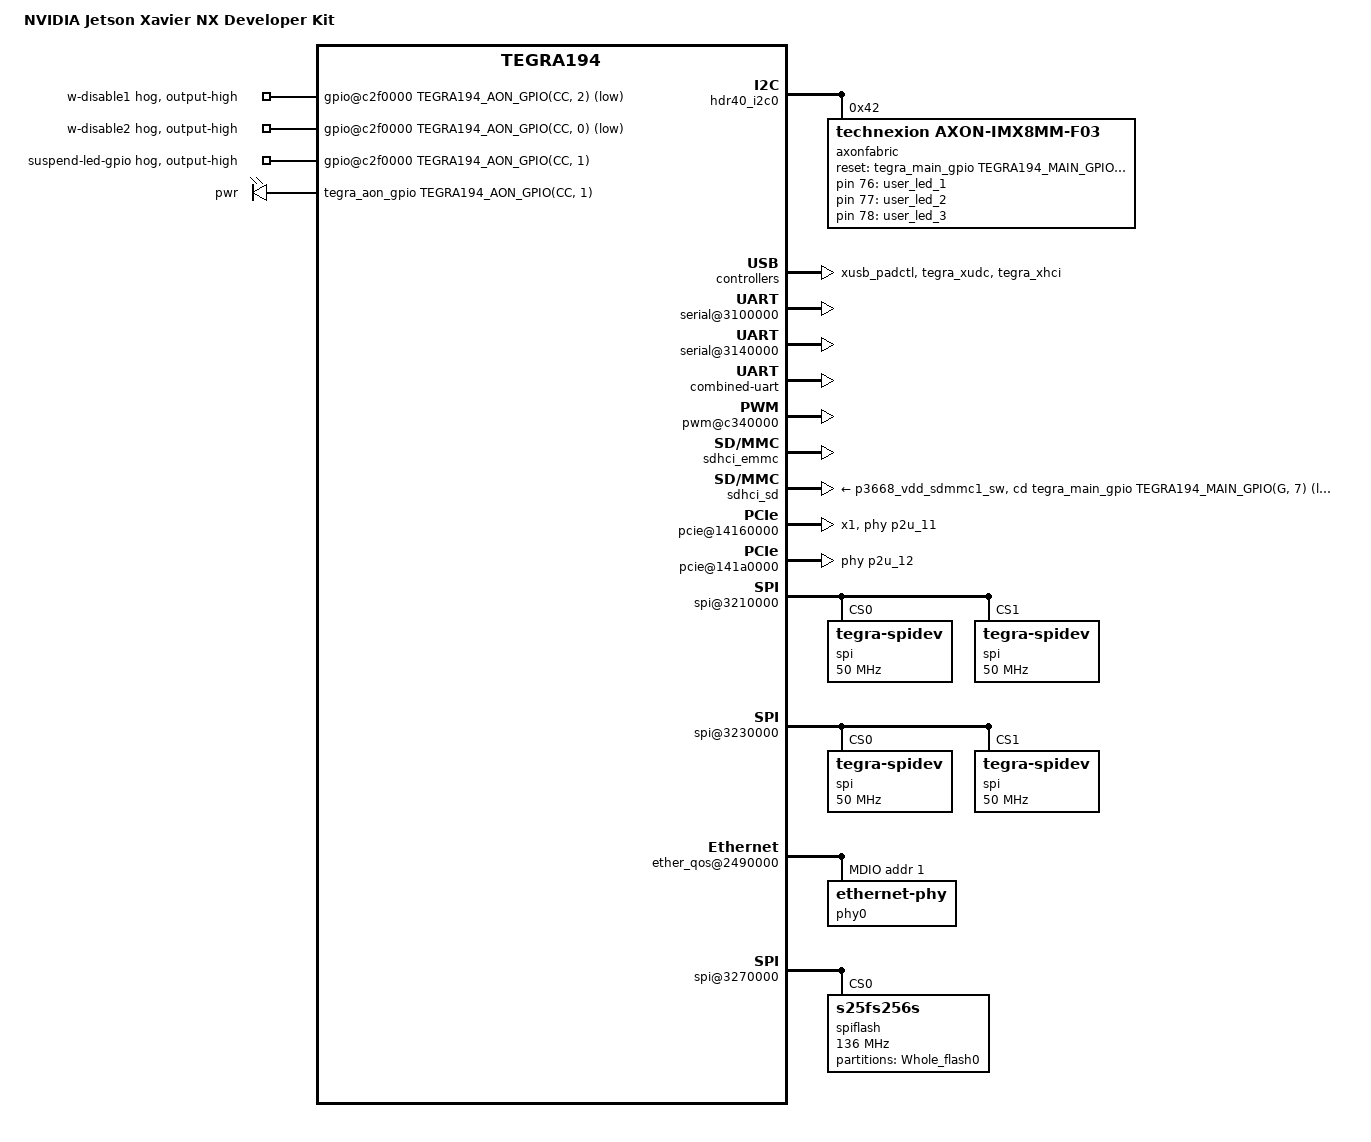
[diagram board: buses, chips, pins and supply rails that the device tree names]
/*
 * Common include DTS file for CVM:P3668-0001 and CVB:P3449-0000 variants.
 *
 * Copyright (c) 2019-2020 , NVIDIA CORPORATION.  All rights reserved.
 *
 * This program is free software; you can redistribute it and/or modify
 * it under the terms of the GNU General Public License as published by
 * the Free Software Foundation; version 2 of the License.
 *
 * This program is distributed in the hope that it will be useful, but WITHOUT
 * ANY WARRANTY; without even the implied warranty of MERCHANTABILITY or
 * FITNESS FOR A PARTICULAR PURPOSE.  See the GNU General Public License for
 * more details.
 */

#include "dt-bindings/extcon-ids.h"
#include "dt-bindings/gpio/tegra194-gpio.h"
#include <dt-bindings/pwm/pwm.h>
#include <tegra194-soc/tegra194-soc-cvm.dtsi>
#include "tegra194-fixed-regulator-p3668.dtsi"
#include <t19x-common-platforms/tegra194-comms.dtsi>
#include <t19x-common-platforms/tegra194-platforms-eqos.dtsi>
#include "tegra194-powermon-p3668.dtsi"
#include "tegra194-power-tree-p3668.dtsi"
#include "tegra194-thermal-p3668.dtsi"
#include <t19x-common-platforms/tegra194-no-pll-aon-clock.dtsi>
#include "tegra194-p3668-pcie-plugin-manager.dtsi"
#include "tegra194-plugin-manager-p3668.dtsi"

/ {
	nvidia,fastboot-usb-vid = <0x0955>;
	nvidia,fastboot-usb-pid = <0xee1e>;
	model = "NVIDIA Jetson Xavier NX Developer Kit";

	chosen {
		bootargs ="console=ttyTCU0,115200";
		board-has-eeprom;
		nvidia,tegra-joint_xpu_rail;
	};

	cpufreq {
		compatible = "nvidia,tegra194-cpufreq";
		status = "okay";
		cpu_emc_map = <1907200 1600000>,
			    <1881600 800000>,
			    <1574400 665000>,
			    <1267200 408000>;
	};

	pmc@c370000 {
		nvidia,invert-interrupt;
	};

        pmc@c360000 {
                 iopad_defaults: iopad-defaults {
                         sdmmc-io-pads {
                                 pins = "sdmmc1-hv", "sdmmc3-hv";
                                 nvidia,enable-voltage-switching;
                         };
                 };
         };

	hdr40_i2c0: i2c@c240000 {
		/* This I2C (GEN2) is routed only to 40-pin hdr
		 * Not being used in Jakku CVM/CVB/Porg-base-board
		 * it seems "ucsi_ccg" for USB-TypeC which is not supported by Jakku */
		bmi160@69 {
			compatible = "bmi,bmi160";
			reg = <0x69>;
			interrupt-parent = <&tegra_aon_gpio>;
			interrupts = <TEGRA194_AON_GPIO(AA, 2) GPIO_ACTIVE_LOW>;
			accelerometer_matrix    = [01 00 00 00 01 00 00 00 01];
			gyroscope_matrix        = [01 00 00 00 01 00 00 00 01];
			accelerometer_delay_us_min = <1250>;
			gyroscope_delay_us_min = <1250>;
			status = "disabled";
		};
	};

	i2c@c240000 {
		// Note that i2c address for the fabric will change in rev 0.2 of the board.
		// In rev 0.1, I2C0 is connected to regular io pins on the fpga, which allows
		// it to communicate with the EFB secondary I2C interface (not the primary).
		// In rev 0.2, the I2C pins will be connected to the correct sysConfig pins of
		// the FPGA, so the address will revert to 0x41.
		axonfabric: axonfabric@42 {
			reg = <0x42>;  // 0x42 is temporary only for board rev 0.1
			pinctrl-names = "default";
			compatible = "technexion,axon-imx8mm-f03";
			reset-gpios = <&tegra_main_gpio TEGRA194_MAIN_GPIO(P, 4) 1>;
			gpio-controller;
			#gpio-cells = <2>;
			gpio-line-names =
				"F_GPIO01", "F_GPIO02", "F_GPIO03", "F_GPIO04", // Bank 0
				"F_GPIO05", "F_GPIO06", "F_GPIO07", "F_GPIO08", // Bank 0
				"F_GPIO09", "F_GPIO10", "F_GPIO11", "F_GPIO12", // Bank 1
				"F_GPIO13", "F_GPIO14", "F_GPIO15", "F_GPIO16", // Bank 1
				"F_GPIO17", "F_GPIO18", "F_GPIO19", "F_GPIO20", // Bank 2
				"F_GPIO21", "F_GPIO22", "F_GPIO23", "F_GPIO24", // Bank 2
				"F_GPIO25", "F_GPIO26", "F_GPIO27", "F_GPIO28", // Bank 3
				"F_GPIO29", "F_GPIO30", "F_GPIO31", "F_GPIO32", // Bank 3
				"F_GPIO33", "F_GPIO34", "F_GPIO35", "F_GPIO36", // Bank 4
				"F_GPIO37", "F_GPIO38", "F_GPIO39", "F_GPIO40", // Bank 4
				"F_GPIO41", "F_GPIO42", "F_GPIO43", "F_GPIO44", // Bank 5
				"F_GPIO45", "F_GPIO46", "F_GPIO47", "F_GPIO48", // Bank 5
				"F_GPIO49", "F_GPIO50", "F_GPIO51", "F_GPIO52", // Bank 6
				"F_GPIO53", "F_GPIO54", "F_GPIO55", "F_GPIO56", // Bank 6
				"F_GPIO57", "F_GPIO58", "F_GPIO59", "F_GPIO60", // Bank 7
				"F_GPIO61", "F_GPIO62", "F_GPIO63", "F_GPIO64", // Bank 7
				"F_GPIO65", "F_GPIO66", "F_GPIO67", "F_GPIO68", // Bank 8
				"F_GPIO69", "F_GPIO70", "", "",                 // Bank 8
				"F_UART_TXD", "F_UART_RXD", "F_UART_CTS", "F_UART_RTS",  // Bank 9
				"F_GPIO_LED1", "F_GPIO_LED2", "F_GPIO_LED3", "",         // Bank 9
				"CSI0_RST_N", "CSI0_PWDN", "CSI0_PDB", "CSI0_INT",       // Bank 10
				"CSI1_RST_N", "CSI1_PWDN", "CSI1_PDB", "CSI1_INT",       // Bank 10
				"CSI2_RST_N", "CSI2_PWDN", "CSI2_PDB", "CSI2_INT",       // Bank 11
				"CSI3_RST_N", "CSI3_PWDN", "CSI3_PDB", "CSI3_INT",       // Bank 11
				"CSI4_RST_N", "CSI4_PWDN", "CSI4_PDB", "CSI4_INT",       // Bank 12
				"CSI5_RST_N", "CSI5_PWDN", "CSI5_PDB", "CSI5_INT",       // Bank 12
				"LTE_DISABLE_CTRL", "LTE_WAKE_AP", "M2_RTS_N", "F_SIO_GPO30",  // Bank 13
				"CASE_OPEN_N", "F_SOC_COREPOWER_OK", "F_IGNITION", "";      // Bank 13
			status="okay";

			pinmux_axonfabric: pinmux_axonfabric {
				status = "okay";

				// LEDs
				pinctrl_af_nxbox_leds: pc_nxbox_leds {
					pins = "F_GPIO_LED1", "F_GPIO_LED2", "F_GPIO_LED3";
					function = "gpio";
					drive-push-pull;
				};

				// Regular GPIO
				pinctrl_af_nxbox_gpio: pc_nxbox_gpio {
					pins =  "F_GPIO01", "F_GPIO02", "F_GPIO03", "F_GPIO04", // Bank 0
							"F_GPIO05", "F_GPIO06", "F_GPIO07", "F_GPIO08", // Bank 0
							"F_GPIO09", "F_GPIO10", "F_GPIO11", "F_GPIO12", // Bank 1
							"F_GPIO13", "F_GPIO14", "F_GPIO15", "F_GPIO16", // Bank 1
							"F_GPIO17", "F_GPIO18", "F_GPIO19", "F_GPIO20", // Bank 2
							"F_GPIO21", "F_GPIO22", "F_GPIO23", "F_GPIO24", // Bank 2
							"F_GPIO25", "F_GPIO26", "F_GPIO27", "F_GPIO28", // Bank 3
							"F_GPIO29", "F_GPIO30", "F_GPIO31", "F_GPIO32", // Bank 3
							"F_GPIO33", "F_GPIO34", "F_GPIO35", "F_GPIO36", // Bank 4
							"F_GPIO37", "F_GPIO38", "F_GPIO39", "F_GPIO40", // Bank 4
							"F_GPIO41", "F_GPIO42", "F_GPIO43", "F_GPIO44", // Bank 5
							"F_GPIO45", "F_GPIO46", "F_GPIO47", "F_GPIO48", // Bank 5
							"F_GPIO49", "F_GPIO50", "F_GPIO51", "F_GPIO52", // Bank 6
							"F_GPIO53", "F_GPIO54", "F_GPIO55", "F_GPIO56", // Bank 6
							"F_GPIO57", "F_GPIO58", "F_GPIO59", "F_GPIO60", // Bank 7
							"F_GPIO61", "F_GPIO62", "F_GPIO63", "F_GPIO64", // Bank 7
							"F_GPIO65", "F_GPIO66", "F_GPIO67", "F_GPIO68", // Bank 8
							"F_GPIO69", "F_GPIO70",				// Bank 8
							"CSI0_RST_N", "CSI0_PWDN", "CSI0_PDB", "CSI0_INT",       // Bank 10
							"CSI1_RST_N", "CSI1_PWDN", "CSI1_PDB", "CSI1_INT",       // Bank 10
							"CSI2_RST_N", "CSI2_PWDN", "CSI2_PDB", "CSI2_INT",       // Bank 11
							"CSI3_RST_N", "CSI3_PWDN", "CSI3_PDB", "CSI3_INT",       // Bank 11
							"CSI4_RST_N", "CSI4_PWDN", "CSI4_PDB", "CSI4_INT",       // Bank 12
							"CSI5_RST_N", "CSI5_PWDN", "CSI5_PDB", "CSI5_INT";       // Bank 12;
					function = "gpio";
					drive-push-pull;
				};
			};

			gpio_axonfabric: gpio_axonfabric {
				status = "okay";
				compatible = "technexion,axonfabric-gpio";
				pinctrl-names = "default";
				pinctrl-0 = <&pinmux_axonfabric>;
			};
		};
	};

	fpga_leds: fpga_leds {
		compatible = "gpio-leds";
		pinctrl-names = "default";
		status = "okay";

		user_led_1: fpga_user_led_1 {
			label = "user_led_1";
			gpios = <&axonfabric 76 GPIO_ACTIVE_HIGH>;
			linux,default-trigger = "heartbeat";
		};

		user_led_2: fpga_user_led_2 {
			label = "user_led_2";
			gpios = <&axonfabric 77 GPIO_ACTIVE_HIGH>;
			default-state = "off";
		};

		user_led_3: fpga_user_led_3 {
			label = "user_led_3";
			gpios = <&axonfabric 78 GPIO_ACTIVE_HIGH>;
			default-state = "off";
		};
	};

	external-connection {
		vbus_id_extcon: extcon@1 {
			compatible = "extcon-gpio-states";
			reg = <0x1>;
			extcon-gpio,name = "VBUS";
			extcon-gpio,cable-states = <
						0x0 0x1
						0x1 0x0>;
			gpios = <&tegra_main_gpio TEGRA194_MAIN_GPIO(Z, 1) 0>;
			extcon-gpio,out-cable-names = <EXTCON_USB EXTCON_USB_HOST EXTCON_NONE>;
			wakeup-source;
			#extcon-cells = <1>;
		};
	};

	xusb_padctl: xusb_padctl@3520000 {
		status = "okay";

		pads {
			usb2 {
				lanes {
					usb2-0 {
						nvidia,function = "xusb";
						status = "okay";
					};
					usb2-1 {
						nvidia,function = "xusb";
						status = "okay";
					};
					usb2-2 {
						nvidia,function = "xusb";
						status = "okay";
					};
				};
			};
			usb3 {
				lanes {
					usb3-2 {
						nvidia,function = "xusb";
						status = "okay";
					};
				};
			};
		};

		ports {
			usb2-0 {
				mode = "otg";
				status = "okay";
			};
			usb2-1 {
				mode = "host";
				status = "okay";
			};
			usb2-2 {
				mode = "host";
				vbus-supply = <&battery_reg>;
				status = "okay";
			};
			usb3-2 {
				nvidia,usb2-companion = <1>;
				status = "okay";
			};
		};
	};

	tegra_xudc: xudc@3550000 {
		extcon-cables = <&vbus_id_extcon 0>;
		extcon-cable-names = "vbus";
		#extcon-cells = <1>;
		phys = <&{/xusb_padctl@3520000/pads/usb2/lanes/usb2-0}>;
		phy-names = "usb2";
		nvidia,xusb-padctl = <&xusb_padctl>;
		nvidia,boost_cpu_freq = <1200>;
		status = "okay";
	};

	tegra_xhci: xhci@3610000 {
		extcon-cables = <&vbus_id_extcon 1>;
		extcon-cable-names = "id";
		#extcon-cells = <1>;
		phys = <&{/xusb_padctl@3520000/pads/usb2/lanes/usb2-0}>,
			<&{/xusb_padctl@3520000/pads/usb2/lanes/usb2-1}>,
			<&{/xusb_padctl@3520000/pads/usb2/lanes/usb2-2}>,
			<&{/xusb_padctl@3520000/pads/usb3/lanes/usb3-2}>;
		phy-names = "usb2-0", "usb2-1", "usb2-2", "usb3-2";
		nvidia,xusb-padctl = <&xusb_padctl>;
		status = "okay";
	};

	/* Below node can be moved to cvb to make decision about enabling/disabling */
	arm-pmu {
		status = "okay";
	};

	power-domain {
		status = "okay";
	};

	interrupt-controller {
		status = "okay";
	};

	mods-simple-bus {
		status = "okay";
	};

	cpuidle {
		compatible = "nvidia,tegra19x-cpuidle";
		status = "okay";
	};

	thermal-zones {
		status = "okay";
	};

	reserved-memory {
		ramoops_carveout {
			status = "okay";
		};
	};

	mttcan@c310000 {
		status = "okay";
		pll_source = "pllc";
		clocks = <&bpmp_clks TEGRA194_CLK_CAN1_CORE>,
			<&bpmp_clks TEGRA194_CLK_CAN1_HOST>,
			<&bpmp_clks TEGRA194_CLK_CAN1>,
			<&bpmp_clks TEGRA194_CLK_PLLC>;
		clock-names = "can_core", "can_host","can", "pllc";
	};

	mttcan@c320000 {
		status = "disabled";
	};

	host1x {
		dpaux@155F0000 {
			status = "okay";
			compatible = "nvidia,tegra194-dpaux3-padctl";
			/delete-property/ power-domains;
			dpaux_default: pinmux@0 {
				dpaux3_pins {
					pins = "dpaux3-3";
					function = "i2c";
				};
			};
		};
	};

	hardwood {
		compatible = "nvidia,denver-hardwood";
		interrupts = <0 24 0x4>;
	};

	pfsd {
		pwm_polarity= <PWM_POLARITY_NORMAL>;
		suspend_state = <0>;
	};

	serial@3100000 {
		compatible = "nvidia,tegra186-hsuart";
		status = "okay";
	};

	serial@3140000 {
		compatible = "nvidia,tegra186-hsuart";
		status = "okay";
	};

	combined-uart {
		console-port;
		combined-uart;
		status = "okay";
	};

	pwm@c340000 {
		status = "okay";
	};

	sdhci_emmc: sdhci@3460000 {
		uhs-mask = <0x0>;
		nvidia,enable-hwcq;
		status = "okay";
	};

	sdhci_sd: sdhci@3400000 {
		mmc-ocr-mask = <0x0>;
		cd-inverted;
		cd-gpios = <&tegra_main_gpio TEGRA194_MAIN_GPIO(G, 7) 0>;
		nvidia,cd-wakeup-capable;
		mmc-ocr-mask = <0>;
		cd-inverted;
		vmmc-supply = <&p3668_vdd_sdmmc1_sw>;
		status = "okay";
	};

	mipical@3990000 {
		status = "okay";
	};

	tegra-hsp@b950000 {
		status = "okay";
	};

	rtcpu@bc00000 {
		status = "okay";
		nvidia,cmd-timeout = <2000>;
	};

	gpio@c2f0000 {
		pex-refclk-sel-low {
			gpio-hog;
			output-low;
			gpios = <TEGRA194_AON_GPIO(AA, 5) 0>;
			label = "pex_refclk_sel_low";
			status = "disabled";
		};

		pex-refclk-sel-high {
			gpio-hog;
			output-high;
			gpios = <TEGRA194_AON_GPIO(AA, 5) 0>;
			label = "pex_refclk_sel_high";
			status = "disabled";
		};
		w-disable1 {
			gpio-hog;
			output-high;
			gpios = <TEGRA194_AON_GPIO(CC, 2) GPIO_ACTIVE_LOW>;
			label = "w-disable1";
			status = "okay";
		};
		w-disable2 {
			gpio-hog;
			output-high;
			gpios = <TEGRA194_AON_GPIO(CC, 0) GPIO_ACTIVE_LOW>;
			label = "w-disable2";
			status = "okay";
		};
		suspend_gpio: suspend-led-gpio {
			gpio-hog;
			output-high;
			gpio-suspend;
			suspend-output-low;
			gpios = <TEGRA194_AON_GPIO(CC, 1) GPIO_ACTIVE_HIGH>;
			label = "suspend-led-gpio";
			status = "okay";
		};
	};

	pcie@14160000 {
		status = "okay";

		nvidia,pex-wake = <&tegra_main_gpio TEGRA194_MAIN_GPIO(L, 2)
					GPIO_ACTIVE_HIGH>;
		vddio-pex-ctl-supply = <&p3668_spmic_sd3>;
		nvidia,disable-aspm-states = <0xf>;
		nvidia,enable-power-down;
		nvidia,max-speed = <3>;

		num-lanes = <1>;
		phys = <&p2u_11>;
		phy-names = "pcie-p2u-0";
	};

	pcie@141a0000 {
		status = "okay";

		vddio-pex-ctl-supply = <&p3668_spmic_sd3>;
		nvidia,disable-aspm-states = <0xf>;
		nvidia,enable-power-down;
		nvidia,max-speed = <4>;

		phys = <&p2u_12>,
		       <&p2u_13>,
		       <&p2u_14>,
		       <&p2u_15>,
		       <&p2u_16>,
		       <&p2u_17>,
		       <&p2u_18>,
		       <&p2u_19>;

		phy-names = "pcie-p2u-0", "pcie-p2u-1", "pcie-p2u-2", "pcie-p2u-3",
					"pcie-p2u-4", "pcie-p2u-5", "pcie-p2u-6", "pcie-p2u-7";
	};

	pcie_ep@141a0000 {
		status = "disabled";

		nvidia,disable-aspm-states = <0xf>;

		vddio-pex-ctl-supply = <&p3668_spmic_sd3>;

		phys = <&p2u_12>, <&p2u_13>, <&p2u_14>, <&p2u_15>,
			<&p2u_16>, <&p2u_17>, <&p2u_18>, <&p2u_19>;
		phy-names = "pcie-p2u-0", "pcie-p2u-1", "pcie-p2u-2", "pcie-p2u-3",
				"pcie-p2u-4", "pcie-p2u-5", "pcie-p2u-6", "pcie-p2u-7";

		nvidia,pex-rst-gpio = <&tegra_main_gpio TEGRA194_MAIN_GPIO(GG, 1)
					GPIO_ACTIVE_LOW>;
	};

	eeprom-manager {
		data-size = <0x100>;
		bus@0 {
			i2c-bus = <&gen1_i2c>;
			eeprom@0 {
				slave-address = <0x50>;
				label = "cvm";
			};
		};
	};

	hdr40_i2c1: i2c@31e0000 {
		pinctrl-names = "default";
		pinctrl-0 = <&dpaux_default>;
	};

	host1x {
		dpaux@155F0000 {
			status = "okay";
			compatible = "nvidia,tegra194-dpaux3-padctl";
			dpaux_default: pinmux@0 {
				dpaux3_pins {
					pins = "dpaux3-3";
					function = "i2c";
				};
			};
		};
	};

	dpaux3 {
		compatible = "nvidia,tegra194-dpaux3-pinctrl";
		status = "okay";
	};

	spi@3210000{ /* SPI1 in 40 pin conn */
		status = "okay";
		spi@0 { /* chip select 0 */
			compatible = "tegra-spidev";
			reg = <0x0>;
			spi-max-frequency = <50000000>;
			controller-data {
				nvidia,enable-hw-based-cs;
				nvidia,rx-clk-tap-delay = <0x10>;
				nvidia,tx-clk-tap-delay = <0x0>;
			};
		};
		spi@1 { /* chip select 1 */
			compatible = "tegra-spidev";
			reg = <0x1>;
			spi-max-frequency = <50000000>;
			controller-data {
				nvidia,enable-hw-based-cs;
				nvidia,rx-clk-tap-delay = <0x10>;
				nvidia,tx-clk-tap-delay = <0x0>;
			};
		};
	};

	spi@3230000{ /* SPI3 in 40 pin conn */
		status = "okay";
		spi@0 { /* chip select 0 */
			compatible = "tegra-spidev";
			reg = <0x0>;
			spi-max-frequency = <50000000>;
			controller-data {
				nvidia,enable-hw-based-cs;
				nvidia,rx-clk-tap-delay = <0x10>;
				nvidia,tx-clk-tap-delay = <0x0>;
			};
		};
		spi@1 { /* chips select 1 */
			compatible = "tegra-spidev";
			reg = <0x1>;
			spi-max-frequency = <50000000>;
			controller-data {
				nvidia,enable-hw-based-cs;
				nvidia,rx-clk-tap-delay = <0x10>;
				nvidia,tx-clk-tap-delay = <0x0>;
			};
		};
	};

	ether_qos@2490000 {
		nvidia,phy-reset-gpio = <&tegra_main_gpio TEGRA194_MAIN_GPIO(R, 1) 0>;
		nvidia,phy-reset-post-delay = <224>;
		nvidia,phy-reset-duration = <10000>;
                mdio {
                        compatible = "nvidia,eqos-mdio";
                        #address-cells = <1>;
                        #size-cells = <0>;
                        phy0: ethernet-phy@0 {
                                reg = <1>;
			};
		};
	};

	leds {
		compatible = "gpio-leds";
		status = "okay";
		pwr {
			gpios = <&tegra_aon_gpio TEGRA194_AON_GPIO(CC, 1) GPIO_ACTIVE_HIGH>;
			default-state = "on";
		};
	};


	/* QSPI flash S25FS128SAGNFI103 is controlled by qspi0 */
	spi@3270000 {
		spi-max-frequency = <136000000>;
		status = "okay";
		prod-settings {
			#prod-cells = <3>;
			prod {
				prod = <0x04 0x000000ff 0x10>;
			};
		};
		/* QSPI NOR */
		spiflash@0 {
			#address-cells = <1>;
			#size-cells = <1>;
			compatible = "s25fs256s";
			reg = <0>;
			spi-max-frequency = <136000000>;
			partition@0 {
				label = "Whole_flash0";
				reg = <0x00000000 0x2000000>;	/* size of QSPI-NOR 32MB == 256Mb */
			};
			controller-data {
				nvidia,x1-len-limit = <16>;
				nvidia,x1-bus-speed = <136000000>; /* In Mhz */
				nvidia,x1-dymmy-cycle = <8>;
				nvidia,x4-bus-speed = <136000000>;
				nvidia,x4-dymmy-cycle = <8>;
				nvidia,x4-is-ddr=<0>;
				nvidia,ctrl-bus-clk-ratio = <1>;
			};
		};
	};
	clocks-init {
		compatible = "nvidia,clocks-config";
		status = "okay";
		disable {
			clocks = <&aon_clks TEGRA194_CLK_PLLAON>,
				<&bpmp_clks TEGRA194_CLK_CAN1>,
				<&bpmp_clks TEGRA194_CLK_CAN2>;
		};
	};

	soctherm-oc-event {
		status = "okay";
	};
};

#if LINUX_VERSION >= 414
#include <tegra194-linux-4.14.dtsi>
#endif
